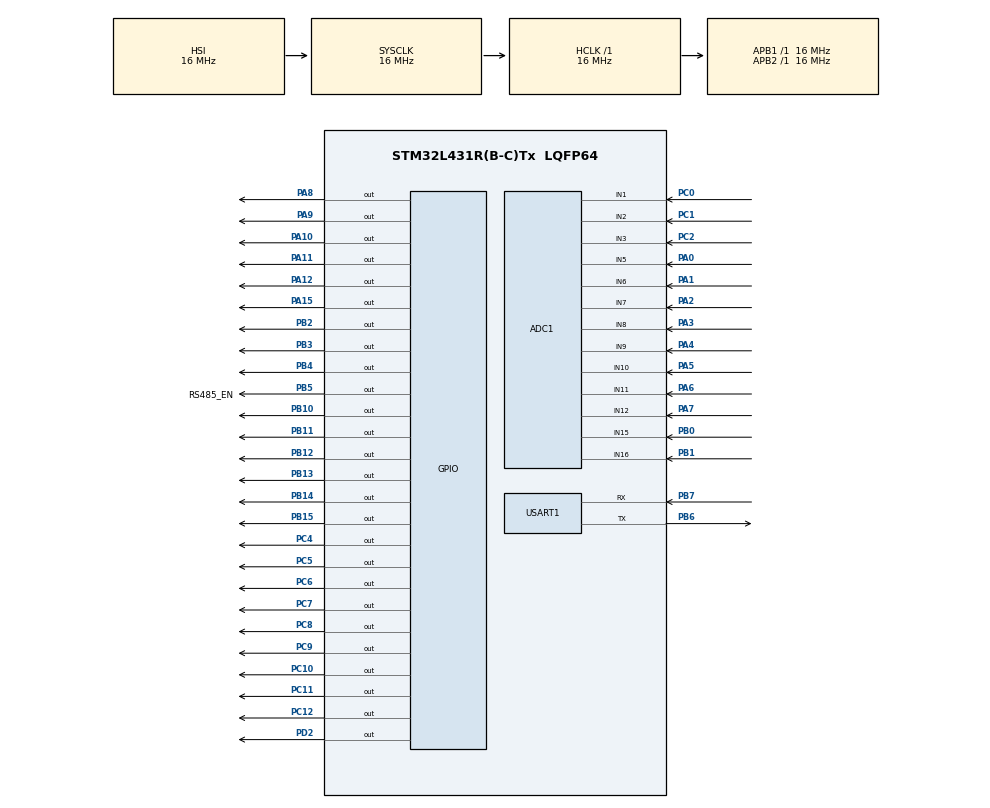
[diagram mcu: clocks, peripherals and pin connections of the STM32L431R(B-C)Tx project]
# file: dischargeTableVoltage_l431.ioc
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ADC1.Channel-0\#ChannelRegularConversion=ADC_CHANNEL_1
ADC1.Channel-1\#ChannelRegularConversion=ADC_CHANNEL_2
ADC1.Channel-10\#ChannelRegularConversion=ADC_CHANNEL_12
ADC1.Channel-11\#ChannelRegularConversion=ADC_CHANNEL_15
ADC1.Channel-2\#ChannelRegularConversion=ADC_CHANNEL_3
ADC1.Channel-3\#ChannelRegularConversion=ADC_CHANNEL_5
ADC1.Channel-4\#ChannelRegularConversion=ADC_CHANNEL_6
ADC1.Channel-5\#ChannelRegularConversion=ADC_CHANNEL_7
ADC1.Channel-6\#ChannelRegularConversion=ADC_CHANNEL_8
ADC1.Channel-7\#ChannelRegularConversion=ADC_CHANNEL_9
ADC1.Channel-8\#ChannelRegularConversion=ADC_CHANNEL_10
ADC1.Channel-9\#ChannelRegularConversion=ADC_CHANNEL_11
ADC1.ClockPrescaler=ADC_CLOCK_ASYNC_DIV4
ADC1.ContinuousConvMode=ENABLE
ADC1.DMAContinuousRequests=ENABLE
ADC1.EnableInjectedConversion=ENABLE
ADC1.InjMonitoredBy-1\#ChannelInjectedConversion=__NULL
ADC1.InjNumberOfConversion=1
ADC1.InjectedChannel-1\#ChannelInjectedConversion=ADC_CHANNEL_16
ADC1.InjectedOffsetNumber-1\#ChannelInjectedConversion=ADC_OFFSET_NONE
ADC1.InjectedRank-1\#ChannelInjectedConversion=1
ADC1.InjectedSamplingTime-1\#ChannelInjectedConversion=ADC_SAMPLETIME_247CYCLES_5
ADC1.NbrOfConversion=12
ADC1.NbrOfConversionFlag=1
ADC1.OffsetNumber-0\#ChannelRegularConversion=ADC_OFFSET_NONE
ADC1.OffsetNumber-1\#ChannelRegularConversion=ADC_OFFSET_NONE
ADC1.OffsetNumber-10\#ChannelRegularConversion=ADC_OFFSET_NONE
ADC1.OffsetNumber-11\#ChannelRegularConversion=ADC_OFFSET_NONE
ADC1.OffsetNumber-2\#ChannelRegularConversion=ADC_OFFSET_NONE
ADC1.OffsetNumber-3\#ChannelRegularConversion=ADC_OFFSET_NONE
ADC1.OffsetNumber-4\#ChannelRegularConversion=ADC_OFFSET_NONE
ADC1.OffsetNumber-5\#ChannelRegularConversion=ADC_OFFSET_NONE
ADC1.OffsetNumber-6\#ChannelRegularConversion=ADC_OFFSET_NONE
ADC1.OffsetNumber-7\#ChannelRegularConversion=ADC_OFFSET_NONE
ADC1.OffsetNumber-8\#ChannelRegularConversion=ADC_OFFSET_NONE
ADC1.OffsetNumber-9\#ChannelRegularConversion=ADC_OFFSET_NONE
ADC1.Overrun=ADC_OVR_DATA_OVERWRITTEN
ADC1.Rank-0\#ChannelRegularConversion=1
ADC1.Rank-1\#ChannelRegularConversion=2
ADC1.Rank-10\#ChannelRegularConversion=11
ADC1.Rank-11\#ChannelRegularConversion=12
ADC1.Rank-2\#ChannelRegularConversion=3
ADC1.Rank-3\#ChannelRegularConversion=4
ADC1.Rank-4\#ChannelRegularConversion=5
ADC1.Rank-5\#ChannelRegularConversion=6
ADC1.Rank-6\#ChannelRegularConversion=7
ADC1.Rank-7\#ChannelRegularConversion=8
ADC1.Rank-8\#ChannelRegularConversion=9
ADC1.Rank-9\#ChannelRegularConversion=10
ADC1.SamplingTime-0\#ChannelRegularConversion=ADC_SAMPLETIME_247CYCLES_5
ADC1.SamplingTime-1\#ChannelRegularConversion=ADC_SAMPLETIME_247CYCLES_5
ADC1.SamplingTime-10\#ChannelRegularConversion=ADC_SAMPLETIME_247CYCLES_5
ADC1.SamplingTime-11\#ChannelRegularConversion=ADC_SAMPLETIME_247CYCLES_5
ADC1.SamplingTime-2\#ChannelRegularConversion=ADC_SAMPLETIME_247CYCLES_5
ADC1.SamplingTime-3\#ChannelRegularConversion=ADC_SAMPLETIME_247CYCLES_5
ADC1.SamplingTime-4\#ChannelRegularConversion=ADC_SAMPLETIME_247CYCLES_5
ADC1.SamplingTime-5\#ChannelRegularConversion=ADC_SAMPLETIME_247CYCLES_5
ADC1.SamplingTime-6\#ChannelRegularConversion=ADC_SAMPLETIME_247CYCLES_5
ADC1.SamplingTime-7\#ChannelRegularConversion=ADC_SAMPLETIME_247CYCLES_5
ADC1.SamplingTime-8\#ChannelRegularConversion=ADC_SAMPLETIME_247CYCLES_5
ADC1.SamplingTime-9\#ChannelRegularConversion=ADC_SAMPLETIME_247CYCLES_5
ADC1.master=1
Dma.ADC1.0.Direction=DMA_PERIPH_TO_MEMORY
Dma.ADC1.0.Instance=DMA1_Channel1
Dma.ADC1.0.MemDataAlignment=DMA_MDATAALIGN_WORD
Dma.ADC1.0.MemInc=DMA_MINC_ENABLE
Dma.ADC1.0.Mode=DMA_CIRCULAR
Dma.ADC1.0.PeriphDataAlignment=DMA_PDATAALIGN_HALFWORD
Dma.ADC1.0.PeriphInc=DMA_PINC_DISABLE
Dma.ADC1.0.Priority=DMA_PRIORITY_VERY_HIGH
Dma.Request0=ADC1
Dma.Request1=USART1_RX
Dma.Request2=USART1_TX
Dma.USART1_RX.1.Direction=DMA_PERIPH_TO_MEMORY
Dma.USART1_RX.1.Instance=DMA1_Channel5
Dma.USART1_RX.1.MemDataAlignment=DMA_MDATAALIGN_BYTE
Dma.USART1_RX.1.MemInc=DMA_MINC_ENABLE
Dma.USART1_RX.1.Mode=DMA_NORMAL
Dma.USART1_RX.1.PeriphDataAlignment=DMA_PDATAALIGN_BYTE
Dma.USART1_RX.1.PeriphInc=DMA_PINC_DISABLE
Dma.USART1_RX.1.Priority=DMA_PRIORITY_MEDIUM
Dma.USART1_TX.2.Direction=DMA_MEMORY_TO_PERIPH
Dma.USART1_TX.2.Instance=DMA1_Channel4
Dma.USART1_TX.2.MemDataAlignment=DMA_MDATAALIGN_BYTE
Dma.USART1_TX.2.MemInc=DMA_MINC_ENABLE
Dma.USART1_TX.2.Mode=DMA_NORMAL
Dma.USART1_TX.2.PeriphDataAlignment=DMA_PDATAALIGN_BYTE
Dma.USART1_TX.2.PeriphInc=DMA_PINC_DISABLE
Dma.USART1_TX.2.Priority=DMA_PRIORITY_HIGH
Mcu.Family=STM32L4
Mcu.Name=STM32L431R(B-C)Tx
Mcu.Package=LQFP64
NVIC.DMA1_Channel1_IRQn=true\:0\:0\:false\:false\:true\:false\:true\:true
NVIC.DMA1_Channel4_IRQn=true\:0\:0\:false\:false\:true\:false\:true\:true
NVIC.DMA1_Channel5_IRQn=true\:0\:0\:false\:false\:true\:false\:true\:true
NVIC.PriorityGroup=NVIC_PRIORITYGROUP_4
PA0.Signal=ADCx_IN5
PA1.Signal=ADCx_IN6
PA10.Signal=GPIO_Output
PA11.Signal=GPIO_Output
PA12.Signal=GPIO_Output
PA13\ (JTMS-SWDIO).Mode=Serial_Wire
PA13\ (JTMS-SWDIO).Signal=SYS_JTMS-SWDIO
PA14\ (JTCK-SWCLK).Mode=Serial_Wire
PA14\ (JTCK-SWCLK).Signal=SYS_JTCK-SWCLK
PA15\ (JTDI).Signal=GPIO_Output
PA2.Signal=ADCx_IN7
PA3.Signal=ADCx_IN8
PA4.Signal=ADCx_IN9
PA5.Signal=ADCx_IN10
PA6.Signal=ADCx_IN11
PA7.Signal=ADCx_IN12
PA8.Signal=GPIO_Output
PA9.Signal=GPIO_Output
PB0.Signal=ADCx_IN15
PB1.Signal=ADCx_IN16
PB10.Signal=GPIO_Output
PB11.Signal=GPIO_Output
PB12.Signal=GPIO_Output
PB13.Signal=GPIO_Output
PB14.Signal=GPIO_Output
PB15.Signal=GPIO_Output
PB2.Signal=GPIO_Output
PB3\ (JTDO-TRACESWO).Signal=GPIO_Output
PB4\ (NJTRST).Signal=GPIO_Output
PB5.GPIO_Label=RS485_EN
PB5.Signal=GPIO_Output
PB6.Mode=Asynchronous
PB6.Signal=USART1_TX
PB7.Mode=Asynchronous
PB7.Signal=USART1_RX
PC0.Signal=ADCx_IN1
PC1.Signal=ADCx_IN2
PC10.Signal=GPIO_Output
PC11.Signal=GPIO_Output
PC12.Signal=GPIO_Output
PC2.Signal=ADCx_IN3
PC4.Signal=GPIO_Output
PC5.Signal=GPIO_Output
PC6.Signal=GPIO_Output
PC7.Signal=GPIO_Output
PC8.Signal=GPIO_Output
PC9.Signal=GPIO_Output
PD2.Signal=GPIO_Output
ProjectManager.HeapSize=0x200
ProjectManager.StackSize=0x400
ProjectManager.TargetToolchain=STM32CubeIDE
RCC.ADCCLockSelection=RCC_ADCCLKSOURCE_SYSCLK
RCC.ADCFreq_Value=16000000
RCC.AHBFreq_Value=16000000
RCC.APB1Freq_Value=16000000
RCC.APB1TimFreq_Value=16000000
RCC.APB2Freq_Value=16000000
RCC.APB2TimFreq_Value=16000000
RCC.CortexFreq_Value=16000000
RCC.HCLKFreq_Value=16000000
RCC.HSE_VALUE=8000000
RCC.HSI48_VALUE=48000000
RCC.HSI_VALUE=16000000
RCC.LSE_VALUE=32768
RCC.MSI_VALUE=4000000
RCC.SYSCLKFreq_VALUE=16000000
RCC.SYSCLKSource=RCC_SYSCLKSOURCE_HSI
RCC.VCOOutputFreq_Value=32000000
SH.ADCx_IN1.0=ADC1_IN1,IN1-Single-Ended
SH.ADCx_IN10.0=ADC1_IN10,IN10-Single-Ended
SH.ADCx_IN11.0=ADC1_IN11,IN11-Single-Ended
SH.ADCx_IN12.0=ADC1_IN12,IN12-Single-Ended
SH.ADCx_IN15.0=ADC1_IN15,IN15-Single-Ended
SH.ADCx_IN16.0=ADC1_IN16,IN16-Single-Ended
SH.ADCx_IN2.0=ADC1_IN2,IN2-Single-Ended
SH.ADCx_IN3.0=ADC1_IN3,IN3-Single-Ended
SH.ADCx_IN5.0=ADC1_IN5,IN5-Single-Ended
SH.ADCx_IN6.0=ADC1_IN6,IN6-Single-Ended
SH.ADCx_IN7.0=ADC1_IN7,IN7-Single-Ended
SH.ADCx_IN8.0=ADC1_IN8,IN8-Single-Ended
SH.ADCx_IN9.0=ADC1_IN9,IN9-Single-Ended
USART1.VirtualMode-Asynchronous=VM_ASYNC
board=custom

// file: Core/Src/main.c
/* USER CODE BEGIN Header */
/**
  ******************************************************************************
  * @file           : main.c
  * @brief          : Main program body
  ******************************************************************************
  * @attention
  *
  * Copyright (c) 2026 STMicroelectronics.
  * All rights reserved.
  *
  * This software is licensed under terms that can be found in the LICENSE file
  * in the root directory of this software component.
  * If no LICENSE file comes with this software, it is provided AS-IS.
  *
  ******************************************************************************
  */
/* USER CODE END Header */
#include "main.h"
#include "adc.h"
#include "dma.h"
#include "usart.h"
#include "gpio.h"

/* USER CODE BEGIN Includes */
#include "discharge.h"
#include "comms.h"
/* USER CODE END Includes */

/* USER CODE BEGIN PV */

uint32_t dischargeLines[20];
uint32_t adcValues[12];

uint8_t conversionComplete = 0;
uint32_t lastTime = 0;

/* USER CODE END PV */

void SystemClock_Config(void);

int main(void)
{

  /* MCU Configuration--------------------------------------------------------*/

  /* Reset of all peripherals, Initializes the Flash interface and the Systick. */
  HAL_Init();

  /* Configure the system clock */
  SystemClock_Config();

  /* Initialize all configured peripherals */
  MX_GPIO_Init();
  MX_DMA_Init();
  MX_ADC1_Init();
  MX_USART1_UART_Init();
  /* USER CODE BEGIN 2 */
  //The L4 ADC must be calibrated before it is enabled for the first time.
  if (HAL_ADCEx_Calibration_Start(&hadc1, ADC_SINGLE_ENDED) != HAL_OK)
  {
    Error_Handler();
  }
  HAL_ADC_Start_DMA(&hadc1, adcValues, 12);
  initOutputs();
  initComms();
  lastTime = HAL_GetTick();

  uint8_t switchedToRelays = 0;
  uint8_t lowVoltage = 0;
  /* USER CODE END 2 */

  /* Infinite loop */
  /* USER CODE BEGIN WHILE */
	while (1) {

		if(conversionComplete){
			conversionComplete = 0;
			//Read the voltages from the mux and pass them into the main discharge array.
			//The mux is read on the ADC1 injected channel now that there is only one ADC.
			for (int i = 0; i <= 7; i++)
				dischargeLines[i] = readMuxChannel(i, &hadc1);
			//Take the votlages from the adc dma and put them into the main discharge array.
			for (int i = 8; i <= 19; i++)
				dischargeLines[i] = adcValues[i - 8];
			lowVoltage = checkVoltages(dischargeLines);
			controlDischarge(dischargeLines);
		}
		//Transmit every 5 seconds if voltage is low.
		if(HAL_GetTick() - lastTime > 5000)
		{
			lastTime = HAL_GetTick();
			if(lowVoltage)
			{
				commsTransmit();
			}
		}
		//If the voltage is low, switch to relays.
		if(lowVoltage == 1 && switchedToRelays == 0)
		{
			relaysOn();
			switchedToRelays = 1;
		}
		//If I got a signal from another board and have not switched on the relays yet.
		if(gotSignal() == 1 && switchedToRelays == 0)
		{
			relaysOn();
			switchedToRelays = 1;
		}

    /* USER CODE END WHILE */

	}
}

void SystemClock_Config(void)
{
  RCC_OscInitTypeDef RCC_OscInitStruct = {0};
  RCC_ClkInitTypeDef RCC_ClkInitStruct = {0};

  /** Configure the main internal regulator output voltage
  */
  if (HAL_PWREx_ControlVoltageScaling(PWR_REGULATOR_VOLTAGE_SCALE1) != HAL_OK)
  {
    Error_Handler();
  }

  /** Initializes the RCC Oscillators according to the specified parameters
  * in the RCC_OscInitTypeDef structure.
  */
  RCC_OscInitStruct.OscillatorType = RCC_OSCILLATORTYPE_HSI;
  RCC_OscInitStruct.HSIState = RCC_HSI_ON;
  RCC_OscInitStruct.HSICalibrationValue = RCC_HSICALIBRATION_DEFAULT;
  RCC_OscInitStruct.PLL.PLLState = RCC_PLL_NONE;
  if (HAL_RCC_OscConfig(&RCC_OscInitStruct) != HAL_OK)
  {
    Error_Handler();
  }

  /** Initializes the CPU, AHB and APB buses clocks
  */
  RCC_ClkInitStruct.ClockType = RCC_CLOCKTYPE_HCLK|RCC_CLOCKTYPE_SYSCLK
                              |RCC_CLOCKTYPE_PCLK1|RCC_CLOCKTYPE_PCLK2;
  RCC_ClkInitStruct.SYSCLKSource = RCC_SYSCLKSOURCE_HSI;
  RCC_ClkInitStruct.AHBCLKDivider = RCC_SYSCLK_DIV1;
  RCC_ClkInitStruct.APB1CLKDivider = RCC_HCLK_DIV1;
  RCC_ClkInitStruct.APB2CLKDivider = RCC_HCLK_DIV1;

  if (HAL_RCC_ClockConfig(&RCC_ClkInitStruct, FLASH_LATENCY_0) != HAL_OK)
  {
    Error_Handler();
  }
}

/* USER CODE BEGIN 4 */

void HAL_ADC_ConvCpltCallback(ADC_HandleTypeDef *hadc) {
	if (hadc->Instance == ADC1) {
		conversionComplete = 1;
	}
}

/* USER CODE END 4 */

void Error_Handler(void)
{
  __disable_irq();
  while (1)
  {
  }
}
